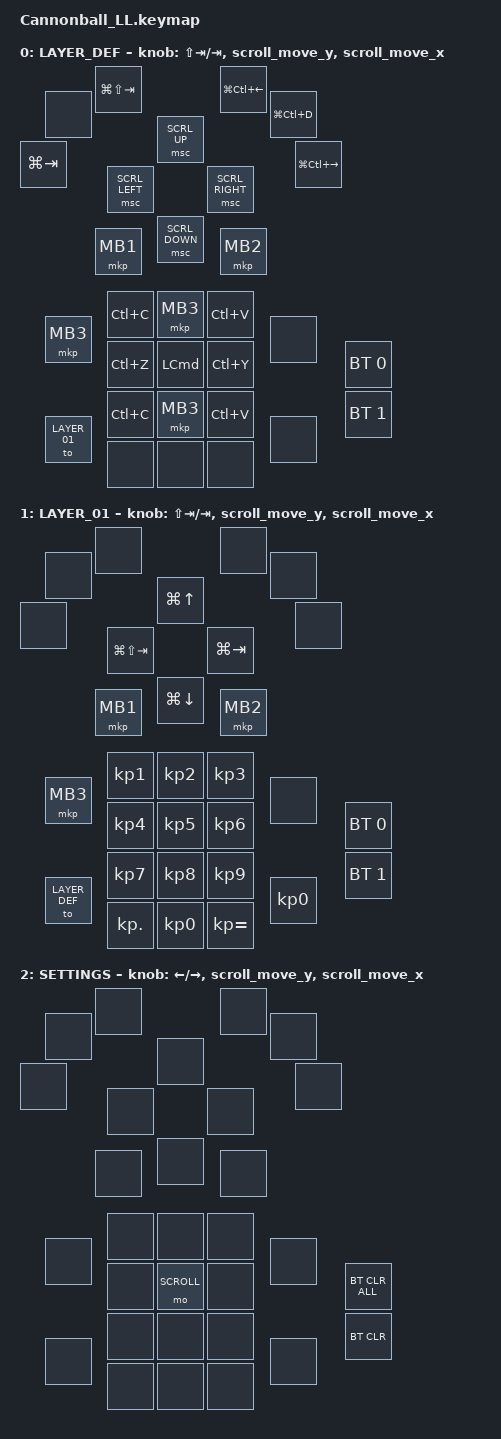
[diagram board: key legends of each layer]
#include <behaviors.dtsi>
#include <dt-bindings/zmk/bt.h>
#include <dt-bindings/zmk/keys.h>
#include <dt-bindings/zmk/pointing.h>
#include <dt-bindings/zmk/input_transform.h>

#define LAYER_DEF 0
#define LAYER_01 1
#define SCROLL 2

/ {
    /* Behaviors */
    // スクロール設定
    msc {
        acceleration-exponent = <0>;      // 0
        time-to-max-speed-ms = <0>;       // 300
        delay-ms = <5>;                   // 10
    };
    behaviors {
        // エンコーダー：キー
        rot_kp: sensor_rotate_kp {
            compatible = "zmk,behavior-sensor-rotate-var";
            #sensor-binding-cells = <2>;
            bindings = <&kp>, <&kp>;
        };

        // エンコーダー：マウススクロール 
        rot_msc: sensor_rotate_msc {
             compatible = "zmk,behavior-sensor-rotate-var";
             #sensor-binding-cells = <2>;
             tap-ms = <20>;
             bindings = <&msc>, <&msc>;
        };

        // エンコーダー：マウススクロール(MOVE_Y)
        scroll_move_y: sensor_rotate_msc_for_move_y {
            compatible = "zmk,behavior-sensor-rotate";
            #sensor-binding-cells = <0>;
            bindings = <&msc MOVE_Y(25)>, <&msc MOVE_Y(-25)>;
            // tap-ms下限メモ Yの値で可変: Y(15) <81>, Y(20) <65>, Y(25) <49>
            tap-ms = <49>;
        };

        // エンコーダー：マウススクロール(MOVE_X)
        scroll_move_x: sensor_rotate_msc_for_move_x {
            compatible = "zmk,behavior-sensor-rotate";
            #sensor-binding-cells = <0>;
            bindings = <&msc MOVE_X(25)>, <&msc MOVE_X(-25)>;
            // tap-ms下限メモ Xの値で可変: X(15) <81>, X(20) <65>, X(25) <49>
            tap-ms = <49>;
        };
    };

    /* キーマップ */
    keymap {
        compatible = "zmk,keymap";

        // Base Layer
    	LAYER_DEF {
            bindings = <
                // Order when USB is on top
                // Keys (Upper-right to Lower-left)
                &kp LC(V) &kp LC(Y) &kp LC(V) &none
                &mkp MB3  &kp LCMD  &mkp MB3  &none
                &kp LC(C) &kp LC(Z) &kp LC(C) &none
                // Mouse (Left, Right)
                &mkp MB1 &mkp MB2
                // Stick (Up, Left, Down, Right)
                &msc SCRL_UP &msc SCRL_LEFT &msc SCRL_DOWN &msc SCRL_RIGHT
                // Lever (Left-side-left to Right-side-right)
                &kp LG(TAB)      &none         &kp LG(LS(TAB))
                &kp LG(LC(LEFT)) &kp LG(LC(D)) &kp LG(LC(RIGHT))
                // Side (Upper-left, Lower-left, Upper-right, Lower-right)
                &mkp MB3 &to LAYER_01 &none &none
                // Back (Upper, Lower)
                &bt BT_SEL 0 &bt BT_SEL 1
    	    >;
            sensor-bindings = <&rot_kp LS(TAB) TAB>, <&scroll_move_y>, <&scroll_move_x>;
    	};

        // Layer 01
    	LAYER_01 {
            bindings = <
                // Key
                // Order when USB is on top
                // Keys (Upper-right to Lower-left)
                &kp KP_N3 &kp KP_N6 &kp KP_N9 &kp KP_EQUAL
                &kp KP_N2 &kp KP_N5 &kp KP_N8 &kp KP_N0
                &kp KP_N1 &kp KP_N4 &kp KP_N7 &kp KP_DOT
                // Mouse (Left, Right)
                &mkp MB1 &mkp MB2
                // Stick (Up, Left, Down, Right)
                &kp LG(UP) &kp LG(LS(TAB)) &kp LG(DOWN) &kp LG(TAB)
                // Lever (Left-side-left to Right-side-right)
                &none &none &none
                &none &none &none
                // Side (Upper-left, Lower-left, Upper-right, Lower-right)
                &mkp MB3 &to LAYER_DEF &none &kp KP_N0
                // Back (Upper, Lower)
                &bt BT_SEL 0 &bt BT_SEL 1
    	    >;

            // Encoder ( Upper CCW CW, Middle Left(UP) Right(Down), Left(UP) Right(Down))
            sensor-bindings = <&rot_kp LS(TAB) TAB>, <&scroll_move_y>, <&scroll_move_x>;
    	};

        // BT設定、スクロールレイヤー
        SETTINGS {
            bindings = <
                // Key
                &none &none &none &none
                &none &mo SCROLL &none &none
                &none &none &none &none
                // Mouse
                &none &none
                // Stick
                &none &none &none &none
                // Lever
                &none &none &none
                &none &none &none
                // Side
                &none &none &none &none
                // Back
                &bt BT_CLR_ALL &bt BT_CLR
    	    >;
            sensor-bindings = <&rot_kp LEFT RIGHT>, <&scroll_move_y>, <&scroll_move_x>;
    	};
    };
};
